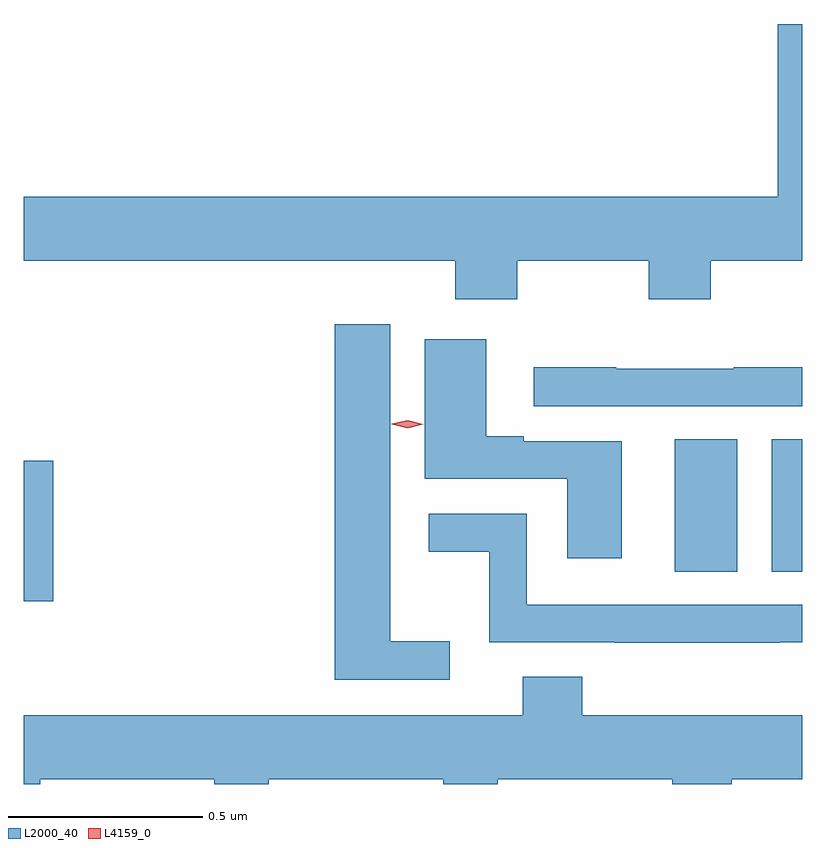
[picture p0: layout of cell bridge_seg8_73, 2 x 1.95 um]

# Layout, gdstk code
import gdstk
lib = gdstk.Library(unit=1e-6, precision=1e-09)
def R(c, l, rs):  # rectangles x0, y0, x1, y1
    for r in rs: c.add(gdstk.rectangle(r[:2], r[2:], *l))
def P(c, l, *ps):  # polygons
    for p in ps: c.add(gdstk.Polygon(p, *l))
L2000_40 = (2000, 40)
L4159_0 = (4159, 0)

bridge_seg8_73 = lib.new_cell('bridge_seg8_73')
R(bridge_seg8_73, L2000_40, [(958.867,1118.29,958.943,1118.65), (960.539,1118.365,960.7,1118.705), (960.788,1118.365,960.867,1118.705)])
P(bridge_seg8_73, L2000_40, [(960.867,1119.772),(960.804,1119.772),(960.804,1119.328),(958.867,1119.328),(958.867,1119.164),(959.975,1119.164),(959.975,1119.065),(960.135,1119.065),(960.135,1119.164),(960.472,1119.164),(960.472,1119.065),(960.632,1119.065),(960.632,1119.164),(960.867,1119.164)],
  [(959.962,1118.187),(959.809,1118.187),(959.809,1119.001),(959.666,1119.001),(959.666,1118.088),(959.962,1118.088)],
  [(960.403,1118.7),(960.151,1118.7),(960.151,1118.713),(960.055,1118.713),(960.055,1118.962),(959.897,1118.962),(959.897,1118.604),(960.263,1118.604),(960.263,1118.4),(960.403,1118.4)],
  [(960.867,1118.891),(960.691,1118.891),(960.691,1118.887),(960.389,1118.887),(960.389,1118.891),(960.177,1118.891),(960.177,1118.79),(960.867,1118.79)],
  [(960.809,1118.184),(960.867,1118.184),(960.867,1118.28),(960.159,1118.28),(960.159,1118.514),(959.907,1118.514),(959.907,1118.416),(960.063,1118.416),(960.063,1118.184),(960.385,1118.184),(960.385,1118.183),(960.809,1118.183)],
  [(958.909,1117.832),(959.357,1117.832),(959.357,1117.82),(959.497,1117.82),(959.497,1117.832),(959.945,1117.832),(959.945,1117.82),(960.085,1117.82),(960.085,1117.832),(960.533,1117.832),(960.533,1117.82),(960.686,1117.82),(960.686,1117.832),(960.867,1117.832),(960.867,1117.996),(960.302,1117.996),(960.302,1118.095),(960.149,1118.095),(960.149,1117.996),(958.867,1117.996),(958.867,1117.82),(958.909,1117.82)])
P(bridge_seg8_73, L4159_0, [(959.853,1118.734),(959.813,1118.744),(959.813,1118.745),(959.813,1118.745),(959.853,1118.754),(959.893,1118.744),(959.893,1118.744),(959.893,1118.744)])

lib.write_gds('bridge_seg8_73.gds')
